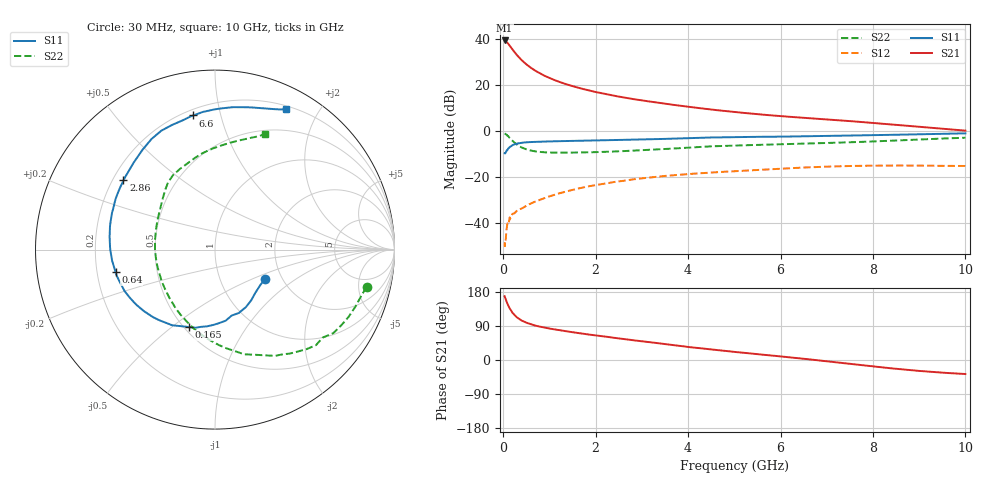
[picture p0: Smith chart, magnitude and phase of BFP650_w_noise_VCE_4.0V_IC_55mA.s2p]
! Infineon Technologies  Discrete & RF Semiconductors
! BFP650
! VCE =  4.0 V,  IC =  55 mA
! Common Emitter S-Parameters:  Jan 2016
# GHz  S  MA  R  50
!  f  S11  S21  S12  S22
! GHz  MAG  ANG  MAG  ANG  MAG  ANG  MAG  ANG
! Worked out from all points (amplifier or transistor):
!   229 points, 30 MHz to 10 GHz, reference 50 ohm
!   highest |S21| = 39.2 dB at 30 MHz (marker M1)
!   |S21| within 3 dB of that: start of sweep to 166.8 MHz
!   unconditionally stable (mu >= 1): 1.658 GHz to end of sweep
!   at 280 MHz: K = 0.52, MSG = 34.2 dB, |S12| = -35.1 dB
!   at 1.78 GHz: K = 1.01, MAG = 20.7 dB, |S12| = -24.5 dB
!   at 10 GHz: K = 1.03, MAG = 6.6 dB, |S12| = -15.3 dB
!   lowest NFmin = 1.01 dB at 450 MHz
!   S11 on the Smith chart (normalised r, x): 30 MHz: 1.64, -0.60; 165 MHz: 0.53, -0.57; 640 MHz: 0.28, -0.10; 2.86 GHz: 0.24, +0.32; 6.6 GHz: 0.24, +0.82; 10 GHz: 0.24, +1.60
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0.03  0.3229 -30.4  90.98 168.4  0.0037 15.3  0.8696 -13.9
0.04  0.3205 -37.8  90.33 164.7  0.0038 86.2  0.8551 -17.4
0.05  0.3292 -46.9  88.12 161.1  0.0038 67.5  0.8446 -22.0
0.07  0.3639 -61.8  85.32 154.9  0.0069 78.0  0.8205 -30.9
0.1  0.4006 -81.5  79.18 146.0  0.0095 66.2  0.7746 -43.4
0.13  0.4298 -96.0  72.13 138.3  0.0112 57.1  0.7142 -54.2
0.165  0.4554 -108.8  64.77 131.5  0.0133 57.6  0.654 -64.3
0.2  0.4843 -119.5  58.09 124.6  0.0156 56.4  0.6051 -74.5
0.24  0.5021 -128.6  51.53 119.0  0.0161 53.1  0.553 -83.5
0.3  0.5239 -139.2  43.41 112.1  0.0185 52.0  0.4948 -95.8
0.34  0.5338 -144.4  39.15 108.7  0.0193 52.1  0.4661 -102.3
0.45  0.5542 -155.3  30.47 101.0  0.0216 53.7  0.4105 -117.8
0.64  0.5681 -167.1  21.81 92.8  0.0274 54.2  0.3625 -136.9
1  0.5845 179.3  13.91 83.0  0.0374 55.8  0.3353 -160.4
1.7  0.6051 163.0  8.16 69.9  0.0572 53.3  0.3364 174.1
2.86  0.6393 142.9  4.771 51.4  0.0887 42.4  0.3686 148.0
3.4  0.6586 134.6  3.973 43.5  0.1015 36.8  0.3941 139.2
5.1  0.7279 113.2  2.486 20.3  0.1335 19.7  0.4787 118.2
6.6  0.7571 99.2  1.875 2.0  0.1597 4.9  0.5268 101.2
6.8  0.7629 97.2  1.815 -0.6  0.1627 2.7  0.5333 99.4
8.4  0.8122 77.6  1.363 -22.0  0.1747 -14.9  0.6045 81.2
10  0.8747 63.2  1.001 -37.0  0.1709 -27.5  0.7019 66.5
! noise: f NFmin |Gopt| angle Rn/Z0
0.45  1.01  0.41  -172  0.07
0.9  1.03  0.43  -166  0.06
1.9  1.18  0.47  -153  0.07
2.4  1.26  0.45  -143  0.09
3.5  1.48  0.47  -120  0.14
